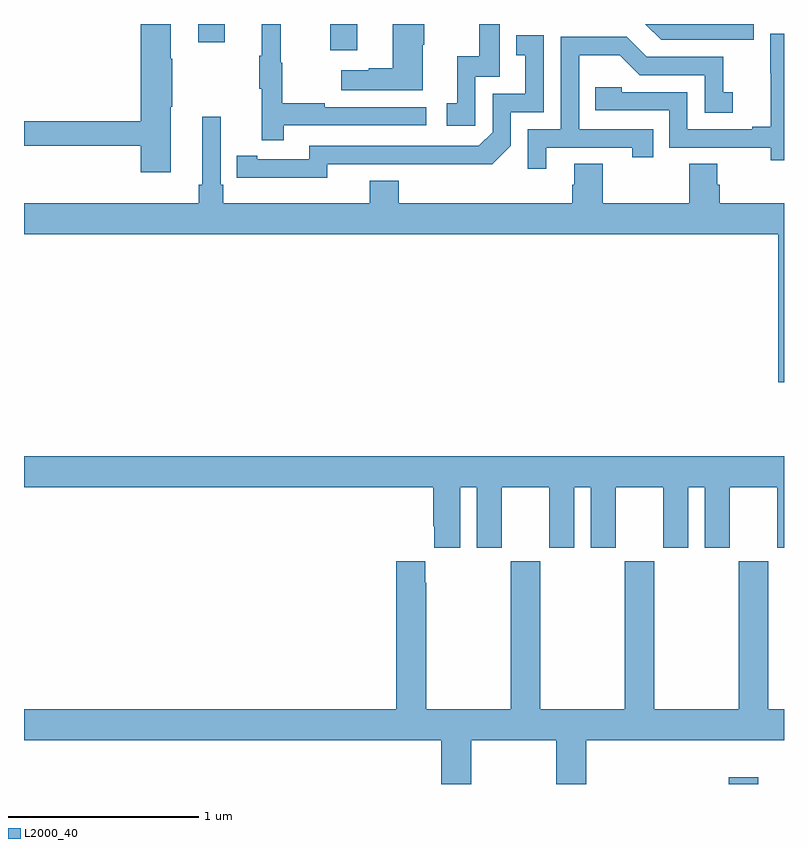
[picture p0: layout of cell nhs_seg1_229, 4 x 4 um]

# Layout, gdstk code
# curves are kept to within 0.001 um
import gdstk
lib = gdstk.Library(unit=1e-6, precision=1e-09)
def R(c, l, rs):  # rectangles x0, y0, x1, y1
    for r in rs: c.add(gdstk.rectangle(r[:2], r[2:], *l))
def P(c, l, *ps):  # polygons
    for p in ps: c.add(gdstk.Polygon(p, *l))
L2000_40 = (2000, 40)

nhs_seg1_229 = lib.new_cell('nhs_seg1_229')
R(nhs_seg1_229, L2000_40, [(126.709,522.199,126.865,522.235), (124.613,526.062,124.753,526.199), (123.917,526.104,124.057,526.199)])
P(nhs_seg1_229, L2000_40, [(125.098,526.091),(125.106,526.091),(125.106,526.199),(124.94,526.199),(124.94,525.965),(124.814,525.965),(124.814,525.955),(124.671,525.955),(124.671,525.851),(125.098,525.851)],
  [(124.367,525.666),(125.116,525.666),(125.116,525.762),(124.583,525.762),(124.583,525.782),(124.36,525.782),(124.36,525.996),(124.352,525.996),(124.352,526.199),(124.25,526.199),(124.25,526.033),(124.239,526.033),(124.239,525.859),(124.25,525.859),(124.25,525.588),(124.367,525.588)],
  [(123.772,525.763),(123.78,525.763),(123.78,526.016),(123.772,526.016),(123.772,526.199),(123.614,526.199),(123.614,525.686),(123,525.686),(123,525.558),(123.614,525.558),(123.614,525.42),(123.772,525.42)],
  [(126.84,526.199),(126.271,526.199),(126.354,526.116),(126.84,526.116)],
  [(125.376,525.921),(125.505,525.921),(125.505,526.199),(125.397,526.199),(125.397,526.03),(125.279,526.03),(125.279,525.783),(125.226,525.783),(125.226,525.663),(125.376,525.663)],
  [(127,526.147),(126.928,526.147),(126.928,525.941),(126.929,525.941),(126.929,525.658),(126.833,525.658),(126.833,525.645),(126.492,525.645),(126.492,525.84),(126.147,525.84),(126.147,525.867),(126.007,525.867),(126.007,525.744),(126.396,525.744),(126.396,525.549),(126.93,525.549),(126.93,525.481),(127,525.481)],
  [(124.596,525.462),(125.464,525.461),(125.562,525.558),(125.562,525.735),(125.736,525.735),(125.736,526.141),(125.59,526.141),(125.59,526.035),(125.639,526.035),(125.639,525.831),(125.466,525.831),(125.466,525.63),(125.394,525.558),(124.5,525.558),(124.5,525.486),(124.228,525.486),(124.228,525.506),(124.12,525.506),(124.12,525.39),(124.596,525.389)],
  [(125.749,525.549),(126.2,525.549),(126.2,525.498),(126.311,525.498),(126.311,525.645),(125.922,525.645),(125.922,526.034),(126.136,526.034),(126.24,525.93),(126.582,525.93),(126.582,525.732),(126.73,525.732),(126.73,525.841),(126.681,525.841),(126.681,526.026),(126.277,526.026),(126.172,526.131),(125.826,526.131),(125.826,525.645),(125.652,525.645),(125.652,525.438),(125.749,525.438)],
  [(127,525.256),(126.662,525.256),(126.662,525.354),(126.649,525.354),(126.649,525.464),(126.502,525.464),(126.502,525.256),(126.045,525.256),(126.045,525.464),(125.897,525.464),(125.897,525.354),(125.885,525.354),(125.885,525.256),(124.973,525.256),(124.973,525.373),(124.82,525.373),(124.82,525.256),(124.049,525.256),(124.049,525.352),(124.035,525.352),(124.035,525.712),(123.938,525.712),(123.938,525.352),(123.919,525.352),(123.919,525.256),(123,525.256),(123,525.092),(126.971,525.092),(126.971,524.313),(127,524.313)],
  [(125.296,523.76),(125.384,523.76),(125.384,523.443),(125.515,523.443),(125.515,523.76),(125.765,523.76),(125.765,523.443),(125.896,523.443),(125.896,523.76),(125.984,523.76),(125.984,523.443),(126.115,523.443),(126.115,523.76),(126.365,523.76),(126.365,523.443),(126.496,523.443),(126.496,523.76),(126.584,523.76),(126.584,523.443),(126.715,523.443),(126.715,523.76),(126.965,523.76),(126.965,523.443),(127,523.443),(127,523.924),(123,523.924),(123,523.76),(125.153,523.76),(125.153,523.555),(125.159,523.555),(125.159,523.443),(125.296,523.443)],
  [(125.355,522.428),(125.8,522.428),(125.8,522.199),(125.96,522.199),(125.96,522.428),(127,522.428),(127,522.592),(126.918,522.592),(126.918,523.371),(126.763,523.371),(126.763,522.592),(126.318,522.592),(126.318,523.371),(126.163,523.371),(126.163,522.592),(125.718,522.592),(125.718,523.371),(125.563,523.371),(125.563,522.592),(125.118,522.592),(125.118,523.259),(125.113,523.259),(125.113,523.371),(124.958,523.371),(124.958,522.592),(123,522.592),(123,522.428),(125.195,522.428),(125.195,522.199),(125.355,522.199)])

lib.write_gds('nhs_seg1_229.gds')
